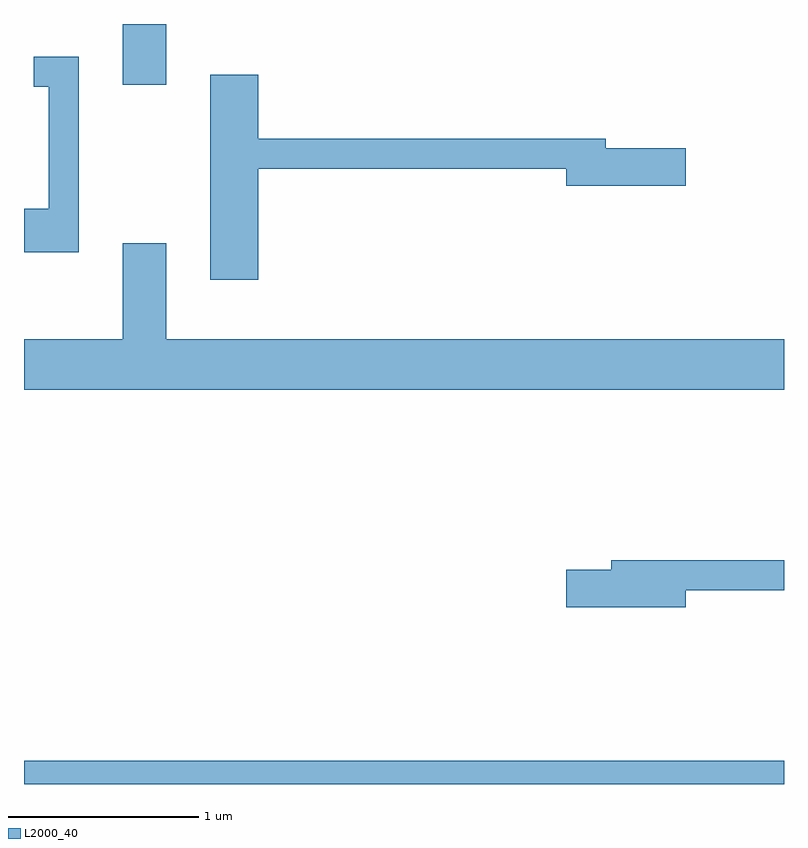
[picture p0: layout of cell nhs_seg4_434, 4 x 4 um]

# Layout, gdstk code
import gdstk
lib = gdstk.Library(unit=1e-6, precision=1e-09)
def R(c, l, rs):  # rectangles x0, y0, x1, y1
    for r in rs: c.add(gdstk.rectangle(r[:2], r[2:], *l))
def P(c, l, *ps):  # polygons
    for p in ps: c.add(gdstk.Polygon(p, *l))
L2000_40 = (2000, 40)

nhs_seg4_434 = lib.new_cell('nhs_seg4_434')
R(nhs_seg4_434, L2000_40, [(197.611,1305.982,201.611,1306.104), (198.131,1309.661,198.359,1309.982)])
P(nhs_seg4_434, L2000_40, [(197.899,1309.809),(197.663,1309.809),(197.663,1309.651),(197.741,1309.651),(197.741,1309.009),(197.611,1309.009),(197.611,1308.781),(197.899,1308.781)],
  [(198.844,1309.221),(200.466,1309.221),(200.466,1309.131),(201.094,1309.131),(201.094,1309.329),(200.674,1309.329),(200.674,1309.379),(198.844,1309.379),(198.844,1309.714),(198.591,1309.714),(198.591,1308.636),(198.844,1308.636)],
  [(201.611,1308.324),(198.359,1308.324),(198.359,1308.829),(198.131,1308.829),(198.131,1308.324),(197.611,1308.324),(197.611,1308.056),(201.611,1308.056)],
  [(201.094,1307.001),(201.611,1307.001),(201.611,1307.159),(200.701,1307.159),(200.701,1307.109),(200.466,1307.109),(200.466,1306.911),(201.094,1306.911)])

lib.write_gds('nhs_seg4_434.gds')
